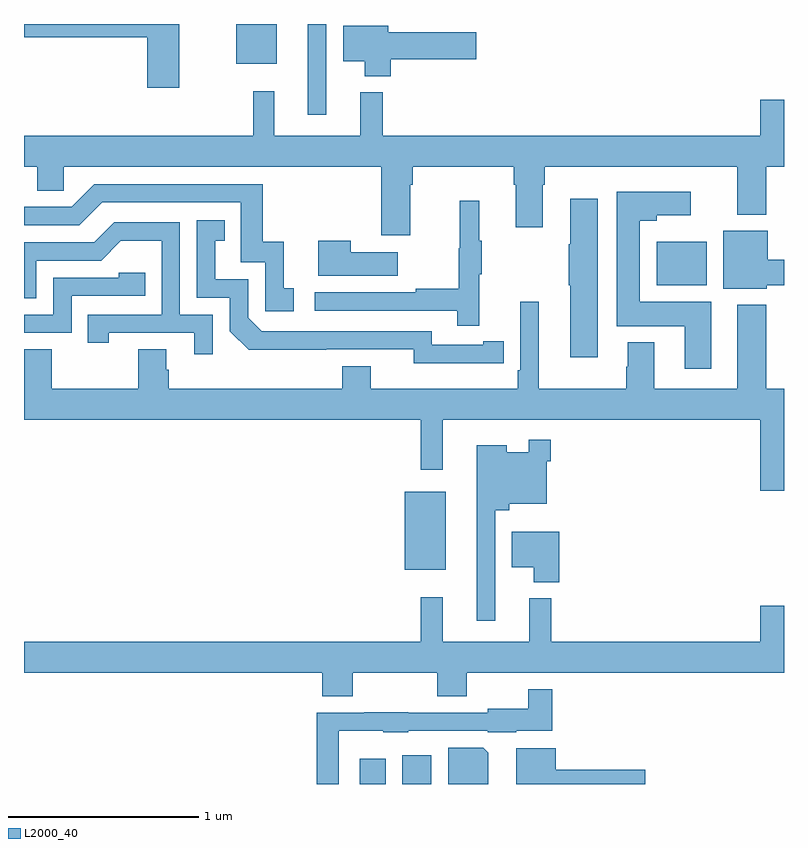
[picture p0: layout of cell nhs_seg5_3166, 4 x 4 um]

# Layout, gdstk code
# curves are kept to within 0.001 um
import gdstk
lib = gdstk.Library(unit=1e-6, precision=1e-09)
def R(c, l, rs):  # rectangles x0, y0, x1, y1
    for r in rs: c.add(gdstk.rectangle(r[:2], r[2:], *l))
def P(c, l, *ps):  # polygons
    for p in ps: c.add(gdstk.Polygon(p, *l))
L2000_40 = (2000, 40)

nhs_seg5_3166 = lib.new_cell('nhs_seg5_3166')
R(nhs_seg5_3166, L2000_40, [(294.767,898.799,294.904,898.933), (294.992,898.799,295.144,898.951), (295.004,899.927,295.219,900.337), (296.33,901.424,296.593,901.654), (294.494,902.322,294.591,902.799), (294.116,902.591,294.331,902.799)])
P(nhs_seg5_3166, L2000_40, [(293.818,902.799),(293,902.799),(293,902.728),(293.648,902.728),(293.648,902.463),(293.818,902.463)],
  [(294.929,902.614),(295.381,902.614),(295.381,902.756),(294.916,902.756),(294.916,902.791),(294.68,902.791),(294.68,902.603),(294.794,902.603),(294.794,902.525),(294.929,902.525)],
  [(295.033,901.952),(295.046,901.952),(295.046,902.048),(295.577,902.048),(295.577,901.952),(295.589,901.952),(295.589,901.728),(295.729,901.728),(295.729,901.952),(295.742,901.952),(295.742,902.048),(296.753,902.048),(296.753,901.796),(296.906,901.796),(296.906,902.048),(297,902.048),(297,902.401),(296.876,902.401),(296.876,902.212),(294.887,902.212),(294.887,902.44),(294.77,902.44),(294.77,902.212),(294.317,902.212),(294.317,902.446),(294.207,902.446),(294.207,902.212),(293,902.212),(293,902.048),(293.069,902.048),(293.069,901.921),(293.208,901.921),(293.208,902.048),(294.881,902.048),(294.881,901.686),(295.033,901.686)],
  [(294.421,901.407),(294.368,901.407),(294.368,901.654),(294.257,901.654),(294.257,901.956),(293.37,901.956),(293.25,901.836),(293,901.836),(293,901.74),(293.292,901.74),(293.412,901.86),(294.141,901.86),(294.141,901.545),(294.27,901.545),(294.27,901.287),(294.421,901.287)],
  [(296.617,901.336),(296.242,901.336),(296.242,901.763),(296.329,901.763),(296.329,901.793),(296.509,901.793),(296.509,901.915),(296.12,901.915),(296.12,901.208),(296.477,901.208),(296.477,900.984),(296.617,900.984)],
  [(296.02,901.879),(295.874,901.879),(295.874,901.64),(295.867,901.64),(295.867,901.423),(295.874,901.423),(295.874,901.044),(296.02,901.044)],
  [(295.397,901.483),(295.408,901.483),(295.408,901.657),(295.397,901.657),(295.397,901.87),(295.294,901.87),(295.294,901.62),(295.287,901.62),(295.287,901.406),(295.063,901.406),(295.063,901.386),(294.531,901.386),(294.531,901.29),(295.279,901.29),(295.279,901.212),(295.397,901.212)],
  [(295.418,901.014),(295.526,901.014),(295.526,901.13),(295.418,901.13),(295.418,901.11),(295.146,901.11),(295.146,901.182),(294.252,901.182),(294.18,901.254),(294.18,901.455),(294.007,901.455),(294.007,901.659),(294.056,901.659),(294.056,901.765),(293.91,901.765),(293.91,901.359),(294.084,901.359),(294.084,901.182),(294.182,901.085),(295.05,901.086),(295.05,901.013)],
  [(293.994,901.269),(293.82,901.269),(293.82,901.755),(293.474,901.755),(293.369,901.65),(293,901.65),(293,901.356),(293.064,901.356),(293.064,901.554),(293.406,901.554),(293.51,901.658),(293.724,901.658),(293.724,901.269),(293.335,901.269),(293.335,901.122),(293.446,901.122),(293.446,901.173),(293.897,901.173),(293.897,901.062),(293.994,901.062)],
  [(296.91,901.424),(297,901.424),(297,901.559),(296.914,901.559),(296.914,901.711),(296.681,901.711),(296.681,901.406),(296.91,901.406)],
  [(294.967,901.597),(294.719,901.597),(294.719,901.657),(294.548,901.657),(294.548,901.475),(294.967,901.475)],
  [(293.25,901.368),(293.639,901.368),(293.639,901.491),(293.499,901.491),(293.499,901.464),(293.154,901.464),(293.154,901.269),(293,901.269),(293,901.173),(293.25,901.173)],
  [(296.177,901.123),(296.177,900.996),(296.17,900.996),(296.17,900.88),(295.708,900.88),(295.708,901.336),(295.611,901.336),(295.611,900.976),(295.598,900.976),(295.598,900.88),(294.826,900.88),(294.826,900.997),(294.674,900.997),(294.674,900.88),(293.762,900.88),(293.762,900.978),(293.749,900.978),(293.749,901.088),(293.602,901.088),(293.602,900.88),(293.145,900.88),(293.145,901.088),(293,901.088),(293,900.716),(295.087,900.716),(295.087,900.453),(295.204,900.453),(295.204,900.716),(296.876,900.716),(296.876,900.342),(297,900.342),(297,900.88),(296.906,900.88),(296.906,901.321),(296.753,901.321),(296.753,900.88),(296.317,900.88),(296.317,901.123)],
  [(295.479,900.239),(295.553,900.239),(295.553,900.275),(295.752,900.275),(295.752,900.497),(295.772,900.497),(295.772,900.61),(295.656,900.61),(295.656,900.544),(295.54,900.544),(295.54,900.583),(295.382,900.583),(295.382,899.658),(295.479,899.658)],
  [(295.817,900.127),(295.568,900.127),(295.568,899.939),(295.682,899.939),(295.682,899.861),(295.817,899.861)],
  [(294.729,899.384),(295.174,899.384),(295.174,899.26),(295.329,899.26),(295.329,899.384),(297,899.384),(297,899.737),(296.876,899.737),(296.876,899.548),(295.775,899.548),(295.775,899.776),(295.658,899.776),(295.658,899.548),(295.205,899.548),(295.205,899.782),(295.087,899.782),(295.087,899.548),(293,899.548),(293,899.384),(294.569,899.384),(294.569,899.26),(294.729,899.26)],
  [(294.657,899.078),(294.891,899.078),(294.891,899.072),(295.023,899.072),(295.023,899.079),(295.44,899.079),(295.44,899.072),(295.59,899.072),(295.59,899.078),(295.781,899.078),(295.781,899.299),(295.653,899.299),(295.653,899.194),(295.44,899.194),(295.44,899.175),(295.023,899.175),(295.023,899.177),(294.791,899.177),(294.791,899.175),(294.541,899.175),(294.541,898.799),(294.657,898.799)],
  [(295.444,898.964),(295.418,898.99),(295.232,898.99),(295.232,898.799),(295.444,898.799)],
  [(296.269,898.874),(295.798,898.874),(295.798,898.988),(295.592,898.988),(295.592,898.799),(296.269,898.799)])

lib.write_gds('nhs_seg5_3166.gds')
